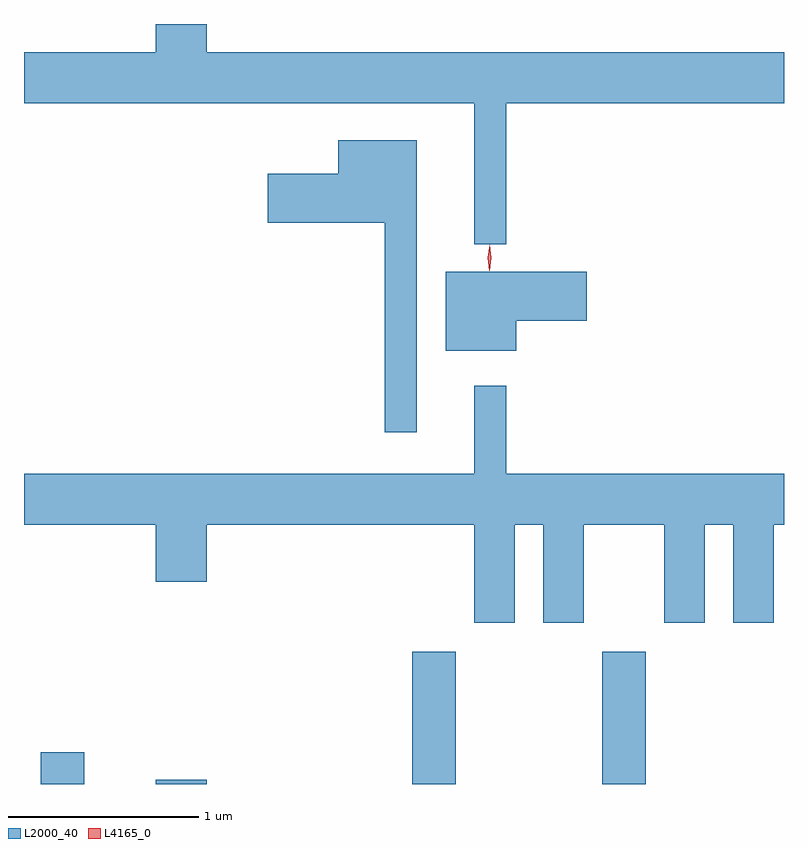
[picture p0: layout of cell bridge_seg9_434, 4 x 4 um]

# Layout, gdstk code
import gdstk
lib = gdstk.Library(unit=1e-6, precision=1e-09)
def R(c, l, rs):  # rectangles x0, y0, x1, y1
    for r in rs: c.add(gdstk.rectangle(r[:2], r[2:], *l))
def P(c, l, *ps):  # polygons
    for p in ps: c.add(gdstk.Polygon(p, *l))
L2000_40 = (2000, 40)
L4165_0 = (4165, 0)

bridge_seg9_434 = lib.new_cell('bridge_seg9_434')
R(bridge_seg9_434, L2000_40, [(394.291,2074.812,394.519,2074.979), (394.896,2074.812,395.164,2074.834), (396.246,2074.812,396.474,2075.509), (397.246,2074.812,397.474,2075.509)])
P(bridge_seg9_434, L2000_40, [(396.739,2078.396),(398.202,2078.396),(398.202,2078.664),(395.164,2078.664),(395.164,2078.812),(394.896,2078.812),(394.896,2078.664),(394.202,2078.664),(394.202,2078.396),(396.571,2078.396),(396.571,2077.653),(396.739,2077.653)],
  [(396.269,2078.199),(395.856,2078.199),(395.856,2078.024),(395.486,2078.024),(395.486,2077.766),(396.101,2077.766),(396.101,2076.663),(396.269,2076.663)],
  [(396.794,2077.251),(397.164,2077.251),(397.164,2077.509),(396.421,2077.509),(396.421,2077.091),(396.794,2077.091)],
  [(396.784,2076.176),(396.936,2076.176),(396.936,2075.661),(397.149,2075.661),(397.149,2076.176),(397.571,2076.176),(397.571,2075.661),(397.784,2075.661),(397.784,2076.176),(397.936,2076.176),(397.936,2075.661),(398.149,2075.661),(398.149,2076.176),(398.202,2076.176),(398.202,2076.444),(396.739,2076.444),(396.739,2076.908),(396.571,2076.908),(396.571,2076.444),(394.202,2076.444),(394.202,2076.176),(394.896,2076.176),(394.896,2075.876),(395.164,2075.876),(395.164,2076.176),(396.571,2076.176),(396.571,2075.661),(396.784,2075.661)])
P(bridge_seg9_434, L4165_0, [(396.651,2077.514),(396.651,2077.514),(396.642,2077.582),(396.652,2077.65),(396.653,2077.65),(396.653,2077.65),(396.662,2077.582),(396.652,2077.514)],
  [(396.651,2077.52),(396.65,2077.521),(396.642,2077.584),(396.652,2077.646),(396.653,2077.647),(396.653,2077.646),(396.662,2077.584),(396.651,2077.521)])

lib.write_gds('bridge_seg9_434.gds')
